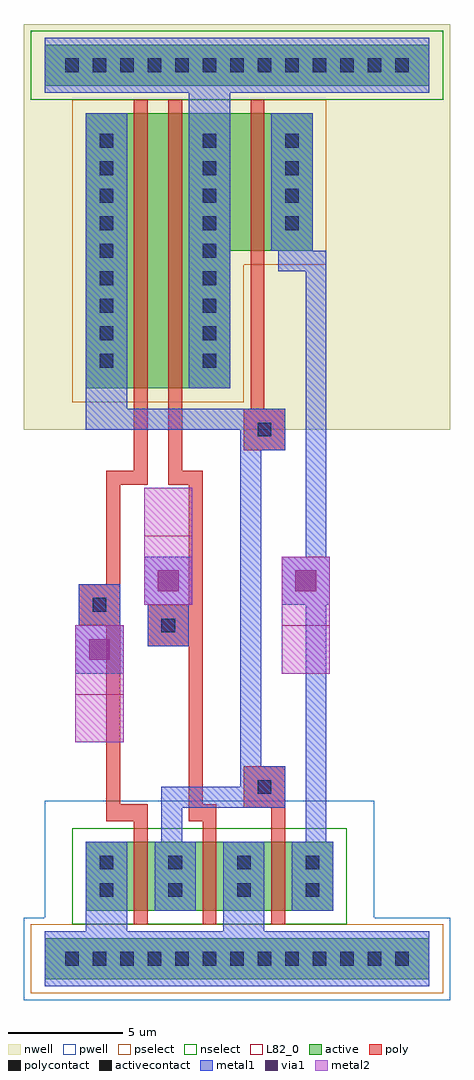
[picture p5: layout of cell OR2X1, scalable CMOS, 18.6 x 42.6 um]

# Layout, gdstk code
import gdstk
lib = gdstk.Library(unit=1e-6, precision=1e-09)
def R(c, l, rs):  # rectangles x0, y0, x1, y1
    for r in rs: c.add(gdstk.rectangle(r[:2], r[2:], *l))
def A(c, l, x, y, w, h, nx, ny, dx, dy):  # array of equal rectangles
    R(c, l, [(x+i*dx, y+j*dy, x+i*dx+w, y+j*dy+h) for i in range(nx) for j in range(ny)])
pwell = (41, 0)
nwell = (42, 0)
active = (43, 0)
pselect = (44, 0)
nselect = (45, 0)
poly = (46, 0)
polycontact = (47, 0)
activecontact = (48, 0)
metal1 = (49, 0)
via1 = (50, 0)
metal2 = (51, 0)
L82_0 = (82, 0)

or2x1 = lib.new_cell('OR2X1')
R(or2x1, pwell, [(-1.8,-1.8,16.8,1.8), (-0.9,1.8,13.5,6.9)])
R(or2x1, nwell, [(-1.8,23.1,16.8,40.8)])
R(or2x1, active, [(-0.9,-0.9,15.9,0.9), (0.9,2.1,11.7,5.1), (0.9,24.9,7.2,30.9), (0.9,30.9,10.8,36.9), (-0.9,38.1,15.9,39.9)])
R(or2x1, pselect, [(-1.5,-1.5,16.5,1.5), (0.3,24.3,7.8,30.3), (0.3,30.3,11.4,37.5)])
R(or2x1, nselect, [(0.3,1.5,12.3,5.7), (-1.5,37.5,16.5,40.5)])
R(or2x1, poly, [(3,1.5,3.6,6), (6,1.5,6.6,6), (9,1.5,9.6,6.6), (1.8,6,3.6,6.75), (5.4,6,6.6,6.75), (7.8,6.6,9.6,8.4), (1.8,6.75,2.4,14.55), (5.4,6.75,6,13.65), (3.6,13.65,6,15.45), (0.6,14.55,2.4,16.35), (5.4,15.45,6,20.7), (1.8,16.35,2.4,20.7), (1.8,20.7,3.6,21.3), (4.5,20.7,6,21.3), (3,21.3,3.6,37.5), (4.5,21.3,5.1,37.5), (7.8,22.2,9.6,24), (8.1,24,8.7,37.5)])
R(or2x1, polycontact, [(8.4,7.2,9,7.8), (4.2,14.25,4.8,14.85), (1.2,15.15,1.8,15.75), (8.4,22.8,9,23.4)])
A(or2x1, activecontact, 0, -0.3, 0.6, 0.6, 13, 2, 1.2, 39)
A(or2x1, activecontact, 1.5, 2.7, 0.6, 0.6, 4, 2, 3, 1.2)
A(or2x1, activecontact, 1.5, 25.8, 0.6, 0.6, 1, 9, 0, 1.2)
A(or2x1, activecontact, 6, 25.8, 0.6, 0.6, 1, 9, 0, 1.2)
A(or2x1, activecontact, 9.6, 31.8, 0.6, 0.6, 1, 4, 0, 1.2)
R(or2x1, metal1, [(-0.9,-1.2,15.9,1.2), (0.9,1.2,2.7,5.1), (6.9,1.2,8.7,5.1), (3.9,2.1,5.7,5.1), (9.9,2.1,11.7,5.1), (4.2,5.1,5.1,6.6), (10.5,5.1,11.4,15.45), (4.2,6.6,9.6,7.5), (7.65,7.5,9.6,8.4), (7.65,8.4,8.55,22.2), (0.45,12.45,2.55,14.55), (3.6,13.65,5.4,15.45), (0.6,14.55,2.4,16.35), (3.45,15.45,5.55,17.55), (9.45,15.45,11.55,17.55), (10.5,17.55,11.4,30), (7.65,22.2,9.6,23.1), (0.9,23.1,9.6,24), (0.9,24,2.7,36.9), (5.4,24.9,7.2,37.8), (9.3,30,11.4,30.9), (9,30.9,10.8,36.9), (-0.9,37.8,15.9,40.2)])
R(or2x1, via1, [(1.05,13.05,1.95,13.95), (4.05,16.05,4.95,16.95), (10.05,16.05,10.95,16.95)])
R(or2x1, metal2, [(0.45,9.45,2.55,14.55), (9.45,12.45,11.55,17.55), (3.45,15.45,5.55,20.55)])
R(or2x1, L82_0, [(0.45,9.45,2.55,11.55), (9.45,12.45,11.55,14.55), (3.45,18.45,5.55,20.55)])

lib.write_gds('OR2X1.gds')
